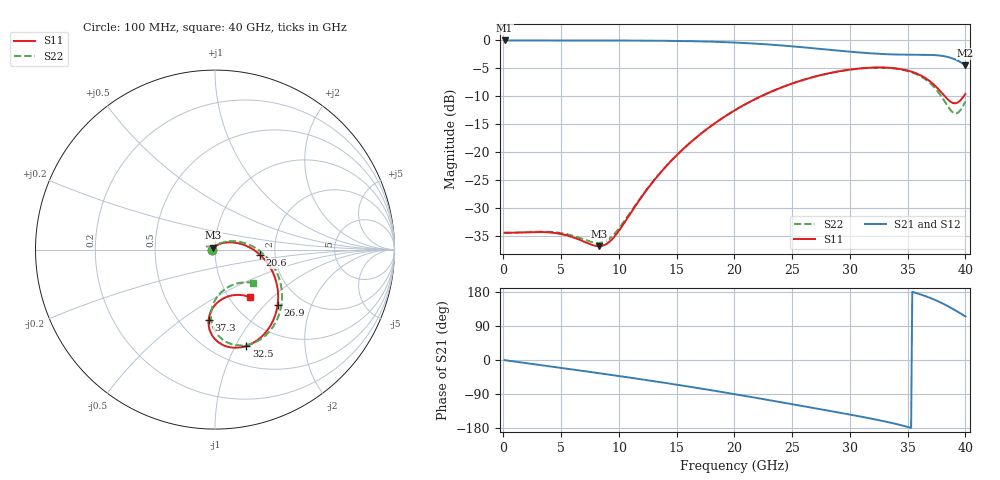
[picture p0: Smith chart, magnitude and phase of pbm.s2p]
! A_s4_d200_ap600: physics-based via model (prototype), ports at the via
# Hz S RI R 50
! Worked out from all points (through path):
!   400 points, 100 MHz to 40 GHz, reference 50 ohm
!   highest |S21| = -0.17 dB at 100 MHz (marker M1); lowest = -4.6 dB at 40 GHz (marker M2)
!   group delay of S21, straight-line fit = 15 ps
!   lowest |S11| = -36.7 dB at 8.3 GHz (marker M3), VSWR 1.03, Z = 49 + j1.05 ohm
!   |S11| at or under -10 dB: start of sweep to 22.39 GHz; 38.18 GHz to 39.89 GHz (1.711 GHz wide, 4.38 % of centre)
!   |S22| runs from -36.2 to -5.0 dB; largest |S21 - S12| = 0
!   S11 on the Smith chart (normalised r, x): 100 MHz: 0.96, -0.00; 20.6 GHz: 1.67, -0.11; 26.9 GHz: 1.51, -1.19; 32.5 GHz: 0.70, -1.11; 37.3 GHz: 0.69, -0.64; 40 GHz: 1.24, -0.73
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1e8  -0.0191 -9.74e-05  0.9808 -0.00711  0.9808 -0.00711  -0.0191 -0.000103
4.2e9  -0.0191 -0.00132  0.9353 -0.2946  0.9353 -0.2946  -0.0194 -0.00148
6.8e9  -0.0156 0.00446  0.8618 -0.467  0.8618 -0.467  -0.0163 0.00448
8.3e9  -0.00981 0.0107  0.8038 -0.5603  0.8038 -0.5603  -0.0109 0.0111
8.9e9  -0.00636 0.0138  0.7774 -0.596  0.7774 -0.596  -0.00767 0.0143
9.6e9  -0.00134 0.0176  0.7443 -0.6364  0.7443 -0.6364  -0.0029 0.0184
1.34e10  0.0493 0.0377  0.5223 -0.8235  0.5223 -0.8235  0.0464 0.0417
1.65e10  0.1241 0.0367  0.2922 -0.9199  0.2922 -0.9199  0.1211 0.0459
2.01e10  0.2366 -0.0168  -0.00914 -0.9391  -0.00914 -0.9391  0.237 0.0013
2.06e10  0.2522 -0.0303  -0.0515 -0.9325  -0.0515 -0.9325  0.2536 -0.0108
2.35e10  0.327 -0.1382  -0.2847 -0.8485  -0.2847 -0.8485  0.3367 -0.1116
2.67e10  0.3502 -0.2988  -0.4911 -0.68  -0.4911 -0.68  0.3734 -0.2685
2.69e10  0.3488 -0.3093  -0.5016 -0.6676  -0.5016 -0.6676  0.373 -0.279
2.97e10  0.2935 -0.4471  -0.6206 -0.4797  -0.6206 -0.4797  0.3297 -0.4201
3.25e10  0.1751 -0.5365  -0.6954 -0.2707  -0.6954 -0.2707  0.2175 -0.5188
3.34e10  0.1269 -0.5463  -0.7124 -0.196  -0.7124 -0.196  0.1687 -0.5322
3.55e10  0.0122 -0.5107  -0.7325 0.0125  -0.7325 0.0125  0.0442 -0.5025
3.73e10  -0.0357 -0.3929  -0.681 0.2553  -0.681 0.2553  -0.0225 -0.376
3.82e10  -0.00443 -0.3146  -0.5921 0.3905  -0.5921 0.3905  0.000236 -0.2824
3.9e10  0.0679 -0.2627  -0.4609 0.4894  -0.4609 0.4894  0.0717 -0.21
3.94e10  0.1164 -0.2527  -0.3794 0.5206  -0.3794 0.5206  0.1236 -0.1887
4e10  0.1928 -0.265  -0.2482 0.5352  -0.2482 0.5352  0.211 -0.1853
